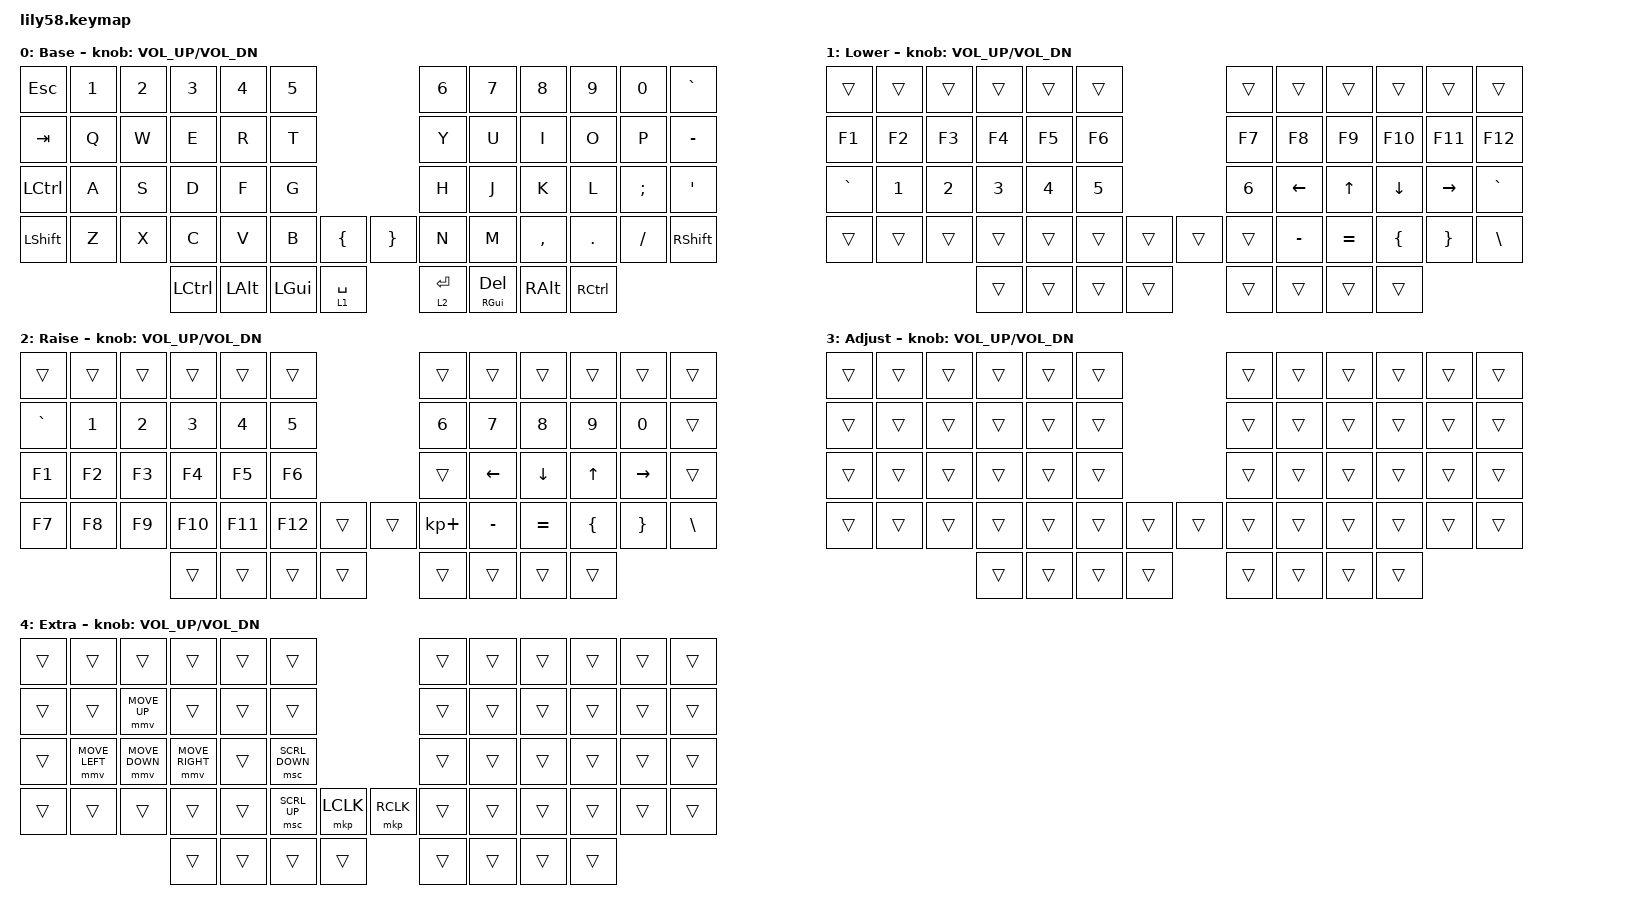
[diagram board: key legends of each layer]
/*
 * Copyright (c) 2020 The ZMK Contributors
 *
 * SPDX-License-Identifier: MIT
 */

#include <behaviors.dtsi>
#include <dt-bindings/zmk/keys.h>
#include <dt-bindings/zmk/bt.h>
#include <dt-bindings/zmk/ext_power.h>
#include <dt-bindings/zmk/pointing.h>

#define default_layer 0
#define lower_layer 1
#define raise_layer 2
#define adjust_layer 3
#define extra_layer 4


/ {
    keymap {
        compatible = "zmk,keymap";

        default_layer {
            display-name = "Base";

// ------------------------------------------------------------------------------------------------------------
// |  ESC  |  1  |  2  |  3   |  4   |  5   |                   |  6   |  7    |  8    |  9   |   0   |   `   |
// |  TAB  |  Q  |  W  |  E   |  R   |  T   |                   |  Y   |  U    |  I    |  O   |   P   |   -   |
// |  CTRL |  A  |  S  |  D   |  F   |  G   |                   |  H   |  J    |  K    |  L   |   ;   |   '   |
// | SHIFT |  Z  |  X  |  C   |  V   |  B   |   "{"  |  |  "}"  |  N   |  M    |  ,    |  .   |   /   | SHIFT |
//                   | CTRL  | ALT  | GUI  |LT(LOW,SP)|  |LT(RSE,RET)|MT(GUI,DEL)| RALT | RCTRL |
            bindings = <
&kp ESC   &kp N1 &kp N2 &kp N3    &kp N4   &kp N5                         &kp N6 &kp N7       &kp N8    &kp N9  &kp N0   &kp GRAVE
&kp TAB   &kp Q  &kp W  &kp E     &kp R    &kp T                          &kp Y  &kp U        &kp I     &kp O   &kp P    &kp MINUS
&kp LCTRL &kp A  &kp S  &kp D     &kp F    &kp G                          &kp H  &kp J        &kp K     &kp L   &kp SEMI &kp SQT
&kp LSHFT &kp Z  &kp X  &kp C     &kp V    &kp B  &kp LBRC    &kp RBRC    &kp N  &kp M        &kp COMMA &kp DOT &kp FSLH &kp RSHFT
                         &kp LCTRL &kp LALT &kp LGUI &lt 1 SPACE  &lt 2 RET  &mt RGUI DEL &kp RALT &kp RCTRL
            >;

            sensor-bindings = <&inc_dec_kp C_VOL_UP C_VOL_DN>;
        };

        lower_layer {
            display-name = "Lower";

// ------------------------------------------------------------------------------------------------------------
// |       |     |     |      |      |      |                   |      |       |       |      |       |       |
// |  F1   |  F2 |  F3 |  F4  |  F5  |  F6  |                   |  F7  |  F8   |  F9   |  F10 |  F11  |  F12  |
// |   `   |  1  |  2  |  3   |  4   |  5   |                   |  6   |  <-   |   ^   |   v  |  ->   |   `   |
// |       |     |     |      |      |      |        |  |        |      |   -   |   =   |  {   |   }   |   \   |
//                     |      |      |      |        |  |        |      |       |       |
            bindings = <
&trans    &trans &trans &trans  &trans  &trans                       &trans    &trans    &trans    &trans   &trans    &trans
&kp F1    &kp F2 &kp F3 &kp F4  &kp F5  &kp F6                       &kp F7    &kp F8    &kp F9    &kp F10  &kp F11   &kp F12
&kp GRAVE &kp N1 &kp N2 &kp N3  &kp N4  &kp N5                       &kp N6    &kp LEFT  &kp UP    &kp DOWN &kp RIGHT &kp GRAVE
&trans    &trans &trans &trans  &trans  &trans    &trans   &trans     &trans    &kp MINUS &kp EQUAL &kp LBRC &kp RBRC  &kp BSLH
                        &trans  &trans  &trans    &trans   &trans     &trans    &trans    &trans
            >;

            sensor-bindings = <&inc_dec_kp C_VOL_UP C_VOL_DN>;
        };

        raise_layer {
            display-name = "Raise";

// ------------------------------------------------------------------------------------------------------------
// |       |     |     |      |      |      |                   |      |       |       |      |       |       |
// |   `   |  1  |  2  |  3   |  4   |  5   |                   |  6   |   7   |   8   |  9   |   0   |       |
// |   F1  |  F2 |  F3 |  F4  |  F5  |  F6  |                   |      |   <-  |   v   |  ^   |  ->   |       |
// |   F7  |  F8 |  F9 |  F10 |  F11 |  F12 |        |  |       |  +   |   -   |   =   |  {   |   }   |   \   |
//                     |      |      |      |        |  |       |      |       |       |
            bindings = <
&trans    &trans &trans &trans  &trans  &trans                       &trans      &trans    &trans    &trans   &trans    &trans
&kp GRAVE &kp N1 &kp N2 &kp N3  &kp N4  &kp N5                       &kp N6      &kp N7    &kp N8    &kp N9   &kp N0    &trans
&kp F1    &kp F2 &kp F3 &kp F4  &kp F5  &kp F6                       &trans      &kp LEFT  &kp DOWN  &kp UP   &kp RIGHT &trans
&kp F7    &kp F8 &kp F9 &kp F10 &kp F11 &kp F12   &trans   &trans    &kp KP_PLUS &kp MINUS &kp EQUAL &kp LBRC &kp RBRC  &kp BSLH
                        &trans  &trans  &trans    &trans   &trans    &trans      &trans    &trans
            >;

            sensor-bindings = <&inc_dec_kp C_VOL_UP C_VOL_DN>;
        };

        adjust_layer {
            display-name = "Adjust";

            bindings = <
&trans    &trans &trans &trans  &trans  &trans                       &trans      &trans    &trans    &trans   &trans    &trans
&trans    &trans &trans &trans  &trans  &trans                       &trans      &trans    &trans    &trans   &trans    &trans
&trans    &trans &trans &trans  &trans  &trans                       &trans      &trans    &trans    &trans   &trans    &trans
&trans    &trans &trans &trans  &trans  &trans   &trans   &trans     &trans      &trans    &trans    &trans   &trans    &trans
                        &trans  &trans  &trans    &trans   &trans    &trans      &trans    &trans
            >;

            sensor-bindings = <&inc_dec_kp C_VOL_UP C_VOL_DN>;
        };

        extra_layer {
            display-name = "Extra";

            bindings = <
&trans    &trans           &trans           &trans            &trans  &trans                          &trans      &trans    &trans    &trans   &trans    &trans
&trans    &trans           &mmv MOVE_UP     &trans            &trans  &trans                          &trans      &trans    &trans    &trans   &trans    &trans
&trans    &mmv MOVE_LEFT   &mmv MOVE_DOWN   &mmv MOVE_RIGHT   &trans  &msc SCRL_DOWN                  &trans      &trans    &trans    &trans   &trans    &trans
&trans    &trans           &trans           &trans            &trans  &msc SCRL_UP   &mkp LCLK  &mkp RCLK  &trans  &trans    &trans    &trans   &trans    &trans
                                            &trans            &trans  &trans         &trans     &trans     &trans  &trans    &trans
            >;

            sensor-bindings = <&inc_dec_kp C_VOL_UP C_VOL_DN>;
        };
    };
};
